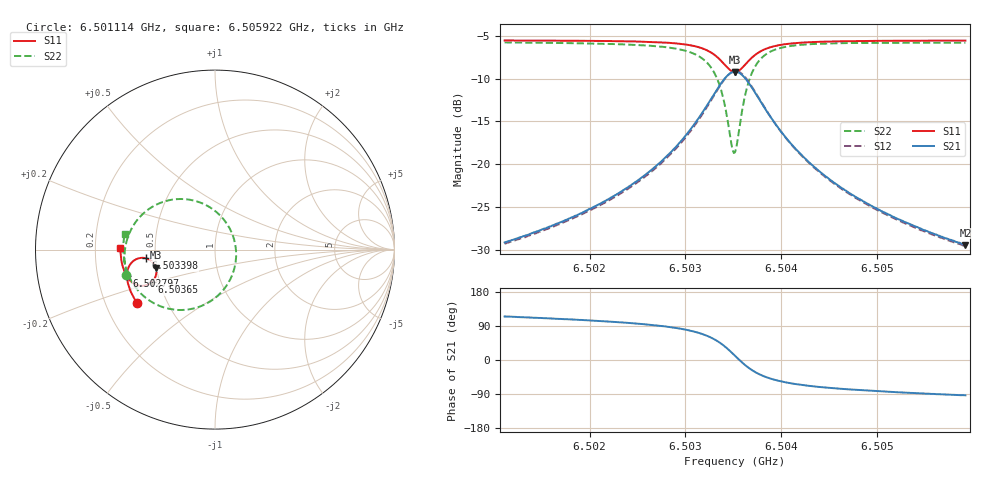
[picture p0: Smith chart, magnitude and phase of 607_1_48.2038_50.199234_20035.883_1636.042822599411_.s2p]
#  HZ  S  RI  R  50.00
! Rohde & Schwarz Vector Network Analyzer
! Rohde-Schwarz,ZNB20-2Port,1311601062101988,3.16
! Created: UTC 3/20/2024, 12:03:14 PM
! freq[Hz]  re:S11  im:S11  re:S21  im:S21  re:S12  im:S12  re:S22  im:S22
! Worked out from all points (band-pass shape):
!   401 points, 6.501114 GHz to 6.505922 GHz, reference 50 ohm
!   highest |S21| = -9.21 dB at 6.503518 GHz (marker M1); lowest = -29.4 dB at 6.505922 GHz (marker M2)
!   |S21| within 3 dB of the highest: 6.503278 GHz to 6.503759 GHz (480.8 kHz wide, 0.00739 % of centre)
!   lowest |S11| = -9.2 dB at 6.503518 GHz (marker M3), VSWR 2.05, Z = 24.8 - j5.68 ohm
!   |S11| at or under -10 dB: nowhere
!   |S22| runs from -18.7 to -5.8 dB; largest |S21 - S12| = 0.012
!   S11 on the Smith chart (normalised r, x): 6.501114 GHz: 0.34, -0.28; 6.502797 GHz: 0.33, -0.13; 6.503398 GHz: 0.44, -0.05; 6.50365 GHz: 0.45, -0.19; 6.505922 GHz: 0.31, +0.01
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6.501114e9  -0.4338 -0.2993  -0.0147 0.0318  -0.013 0.0318  -0.4936 -0.1409
6.5019193e9  -0.4674 -0.2382  -0.014 0.0501  -0.0115 0.0497  -0.5045 -0.0528
6.5023881e9  -0.4831 -0.1953  -0.0102 0.072  -0.00721 0.0707  -0.4989 0.0172
6.5027246e9  -0.4902 -0.1563  -0.000891 0.101  0.00279 0.0987  -0.4782 0.089
6.5027968e9  -0.4906 -0.1462  0.00315 0.1101  0.00689 0.1074  -0.469 0.1086
6.5030011e9  -0.4866 -0.1129  0.0251 0.1445  0.0288 0.1402  -0.4236 0.1765
6.5031574e9  -0.4712 -0.0804  0.0655 0.181  0.0682 0.1753  -0.3452 0.2408
6.5033016e9  -0.4325 -0.0509  0.1488 0.2103  0.1495 0.204  -0.1934 0.2818
6.5033497e9  -0.4107 -0.046  0.1922 0.2087  0.1923 0.2032  -0.1173 0.2731
6.5033978e9  -0.3848 -0.0483  0.2421 0.1931  0.2422 0.1887  -0.0318 0.2379
6.5034819e9  -0.341 -0.0784  0.3219 0.1169  0.3248 0.1129  0.096 0.0875
6.503518e9  -0.3297 -0.101  0.3399 0.0669  0.344 0.0616  0.1172 -0.00622
6.503542e9  -0.3267 -0.1177  0.3434 0.0316  0.3479 0.025  0.1148 -0.071
6.5035781e9  -0.329 -0.1424  0.3359 -0.0198  0.3401 -0.0288  0.0868 -0.1623
6.5036502e9  -0.3516 -0.1806  0.288 -0.098  0.2884 -0.1096  -0.0261 -0.2884
6.5037463e9  -0.3936 -0.2008  0.2078 -0.1421  0.2032 -0.1526  -0.1892 -0.3367
6.5039026e9  -0.4439 -0.1934  0.1177 -0.1413  0.1106 -0.147  -0.3532 -0.2915
6.5040709e9  -0.4735 -0.1723  0.0688 -0.1198  0.0622 -0.1225  -0.4327 -0.2231
6.5043233e9  -0.4962 -0.1408  0.0352 -0.0924  0.0303 -0.0931  -0.4812 -0.1441
6.5046719e9  -0.5117 -0.1032  0.0161 -0.0686  0.0124 -0.0682  -0.504 -0.0701
6.5051286e9  -0.5214 -0.06  0.00538 -0.0504  0.00299 -0.0498  -0.5109 -0.00215
6.5059219e9  -0.5265 0.0079  -0.00191 -0.0338  -0.00344 -0.0331  -0.504 0.0844
